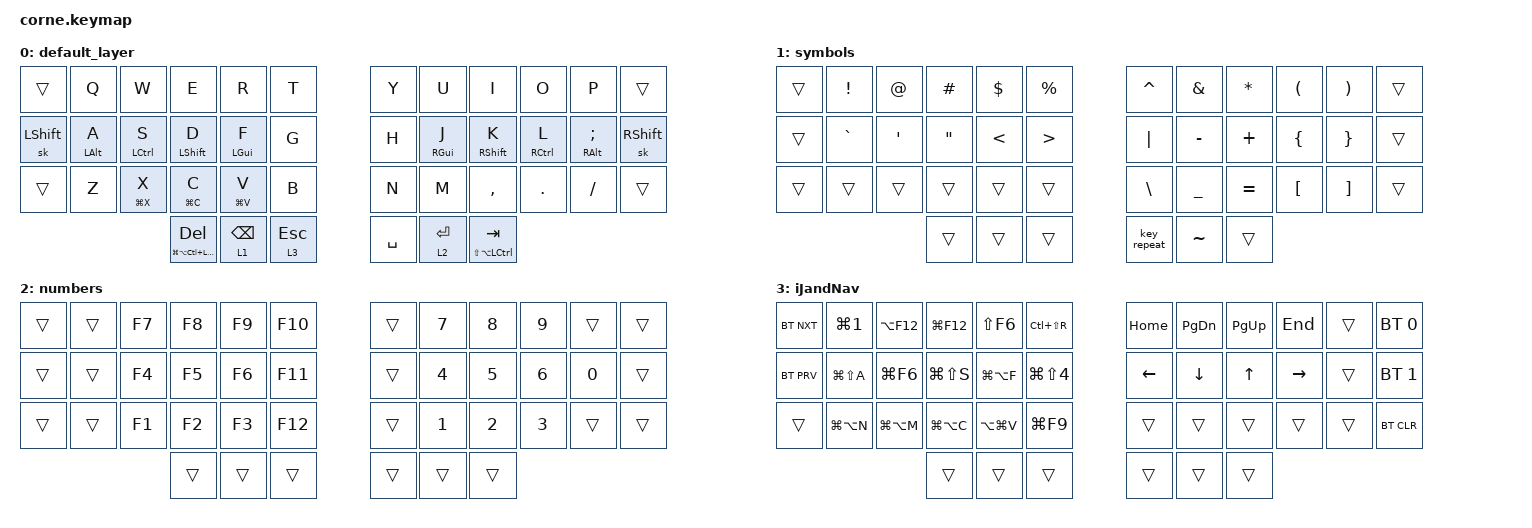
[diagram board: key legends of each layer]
/*
 * Copyright (c) 2020 The ZMK Contributors
 *
 * SPDX-License-Identifier: MIT
 */

#include <behaviors.dtsi>
#include <dt-bindings/zmk/bt.h>
#include <dt-bindings/zmk/keys.h>

/ {
    behaviors {
        hml: ModTapHome {
            compatible = "zmk,behavior-hold-tap";
            label = "Home Row Mods Left";
            bindings = <&kp>, <&kp>;

            #binding-cells = <2>;
            tapping-term-ms = <190>;
            flavor = "balanced";
            hold-trigger-key-positions = <13 14 15 16>;
            require-prior-idle-ms = <140>;
            hold-trigger-on-release;
            quick-tap-ms = <175>;
        };

        hmr: hmr {
            compatible = "zmk,behavior-hold-tap";
            label = "Home Row Mods Right";
            bindings = <&kp>, <&kp>;

            #binding-cells = <2>;
            flavor = "balanced";
            tapping-term-ms = <190>;
            hold-trigger-key-positions = <19 20 21 22>;
            quick-tap-ms = <175>;
            require-prior-idle-ms = <140>;
            hold-trigger-on-release;
        };
    };

    combos {
        compatible = "zmk,combos";

        CAPS_WORD {
            bindings = <&caps_word>;
            key-positions = <1 10>;
        };
    };

    keymap {
        compatible = "zmk,keymap";

        default_layer {
            // -----------------------------------------------------------------------------------------
            // |  TAB |  Q  |  W  |  E  |  R  |  T  |   |  Y  |  U   |  I  |  O  |  P  | BKSP |
            // | CTRL |  A  |  S  |  D  |  F  |  G  |   |  H  |  J   |  K  |  L  |  ;  |  '   |
            // | SHFT |  Z  |  X  |  C  |  V  |  B  |   |  N  |  M   |  ,  |  .  |  /  | ESC  |
            //                    | GUI | LWR | SPC |   | ENT | RSE  | ALT |

            bindings = <
&trans          &kp Q            &kp W         &kp E                              &kp R            &kp T        &kp Y      &kp U             &kp I                         &kp O         &kp P                     &trans
&sk LEFT_SHIFT  &hml LEFT_ALT A  &hml LCTRL S  &hml LEFT_SHIFT D                  &hml LEFT_GUI F  &kp G        &kp H      &hmr RIGHT_GUI J  &hmr RIGHT_SHIFT K            &hmr RCTRL L  &hmr RIGHT_ALT SEMICOLON  &sk RIGHT_SHIFT
&trans          &kp Z            &mt LG(X) X   &mt LG(C) C                        &mt LG(V) V      &kp B        &kp N      &kp M             &kp COMMA                     &kp DOT       &kp FSLH                  &trans
                                               &mt LG(LA(LC(LEFT_SHIFT))) DELETE  &lt 1 BACKSPACE  &lt 3 ESC    &kp SPACE  &lt 2 ENTER       &mt LS(LA(LEFT_CONTROL)) TAB
            >;
        };

        symbols {
            // -----------------------------------------------------------------------------------------
            // |  TAB |  1  |  2  |  3  |  4  |  5  |   |  6  |  7  |  8  |  9  |  0  | BKSP |
            // | BTCLR| BT1 | BT2 | BT3 | BT4 | BT5 |   | LFT | DWN |  UP | RGT |     |      |
            // | SHFT |     |     |     |     |     |   |     |     |     |     |     |      |
            //                    | GUI |     | SPC |   | ENT |     | ALT |

            bindings = <
&trans  &kp EXCLAMATION  &kp AT_SIGN  &kp POUND  &kp DLLR  &kp PRCNT    &kp CARET    &kp AMPS   &kp ASTRK  &kp LPAR  &kp RPAR  &trans
&trans  &kp GRAVE        &kp APOS     &kp DQT    &kp LT    &kp GT       &kp PIPE     &kp MINUS  &kp PLUS   &kp LBRC  &kp RBRC  &trans
&trans  &trans           &trans       &trans     &trans    &trans       &kp BSLH     &kp UNDER  &kp EQUAL  &kp LBKT  &kp RBKT  &trans
                                      &trans     &trans    &trans       &key_repeat  &kp TILDE  &trans
            >;
        };

        numbers {
            // -----------------------------------------------------------------------------------------
            // |  TAB |  !  |  @  |  #  |  $  |  %  |   |  ^  |  &  |  *  |  (  |  )  | BKSP |
            // | CTRL |     |     |     |     |     |   |  -  |  =  |  [  |  ]  |  \  |  `   |
            // | SHFT |     |     |     |     |     |   |  _  |  +  |  {  |  }  | "|" |  ~   |
            //                    | GUI |     | SPC |   | ENT |     | ALT |

            bindings = <
&trans  &trans  &kp F7  &kp F8  &kp F9  &kp F10    &trans  &kp N7  &kp N8  &kp N9  &trans  &trans
&trans  &trans  &kp F4  &kp F5  &kp F6  &kp F11    &trans  &kp N4  &kp N5  &kp N6  &kp N0  &trans
&trans  &trans  &kp F1  &kp F2  &kp F3  &kp F12    &trans  &kp N1  &kp N2  &kp N3  &trans  &trans
                        &trans  &trans  &trans     &trans  &trans  &trans
            >;
        };

        iJandNav {
            bindings = <
&bt BT_NXT  &kp LG(NUMBER_1)  &kp LA(F12)    &kp LG(F12)    &kp LS(F6)     &kp LC(LS(R))     &kp HOME  &kp PAGE_DOWN  &kp PAGE_UP  &kp END    &trans  &bt BT_SEL 0
&bt BT_PRV  &kp LG(LS(A))     &kp LG(F6)     &kp LG(LS(S))  &kp LG(LA(F))  &kp LG(LS(N4))    &kp LEFT  &kp DOWN       &kp UP       &kp RIGHT  &trans  &bt BT_SEL 1
&trans      &kp LG(LA(N))     &kp LG(LA(M))  &kp LG(LA(C))  &kp LA(LG(V))  &kp LG(F9)        &trans    &trans         &trans       &trans     &trans  &bt BT_CLR
                                             &trans         &trans         &trans            &trans    &trans         &trans
            >;
        };
    };
};
